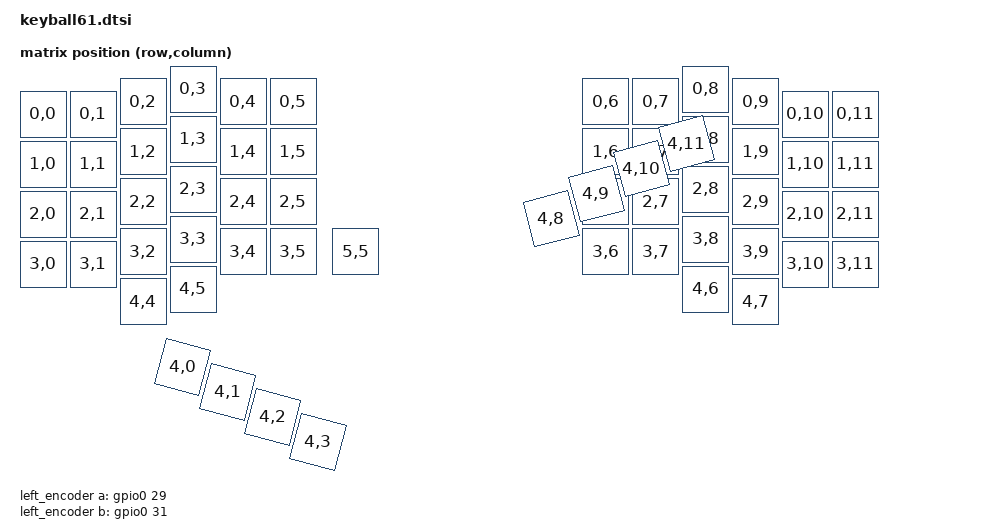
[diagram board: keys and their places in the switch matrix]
#include <dt-bindings/zmk/matrix_transform.h>
#include <physical_layouts.dtsi> 

/ {
    chosen {
	zmk,physical-layout = &keyball_physical_layout;
    };
    
	keyball_physical_layout: keyball_physical_layout {
        compatible = "zmk,physical-layout";
        display-name = "Default";
        transform = <&default_transform>;
        kscan = <&kscan0>;

   keys  //                     w   h    x    y     rot    rx    ry
            = <&key_physical_attrs 100 100    0   50       0     0     0>
            , <&key_physical_attrs 100 100  100   50       0     0     0>
            , <&key_physical_attrs 100 100  200   25       0     0     0>
            , <&key_physical_attrs 100 100  300    0       0     0     0>
            , <&key_physical_attrs 100 100  400   25       0     0     0>
            , <&key_physical_attrs 100 100  500   25       0     0     0>
            , <&key_physical_attrs 100 100 1125   25       0     0     0>
            , <&key_physical_attrs 100 100 1225   25       0     0     0>
            , <&key_physical_attrs 100 100 1325    0       0     0     0>
            , <&key_physical_attrs 100 100 1425   25       0     0     0>
            , <&key_physical_attrs 100 100 1525   50       0     0     0>
            , <&key_physical_attrs 100 100 1625   50       0     0     0>
            , <&key_physical_attrs 100 100    0  150       0     0     0>
            , <&key_physical_attrs 100 100  100  150       0     0     0>
            , <&key_physical_attrs 100 100  200  125       0     0     0>
            , <&key_physical_attrs 100 100  300  100       0     0     0>
            , <&key_physical_attrs 100 100  400  125       0     0     0>
            , <&key_physical_attrs 100 100  500  125       0     0     0>
            , <&key_physical_attrs 100 100 1125  125       0     0     0>
            , <&key_physical_attrs 100 100 1225  125       0     0     0>
            , <&key_physical_attrs 100 100 1325  100       0     0     0>
            , <&key_physical_attrs 100 100 1425  125       0     0     0>
            , <&key_physical_attrs 100 100 1525  150       0     0     0>
            , <&key_physical_attrs 100 100 1625  150       0     0     0>
            , <&key_physical_attrs 100 100    0  250       0     0     0>
            , <&key_physical_attrs 100 100  100  250       0     0     0>
            , <&key_physical_attrs 100 100  200  225       0     0     0>
            , <&key_physical_attrs 100 100  300  200       0     0     0>
            , <&key_physical_attrs 100 100  400  225       0     0     0>
            , <&key_physical_attrs 100 100  500  225       0     0     0>
            , <&key_physical_attrs 100 100 1125  225       0     0     0>
            , <&key_physical_attrs 100 100 1225  225       0     0     0>
            , <&key_physical_attrs 100 100 1325  200       0     0     0>
            , <&key_physical_attrs 100 100 1425  225       0     0     0>
            , <&key_physical_attrs 100 100 1525  250       0     0     0>
            , <&key_physical_attrs 100 100 1625  250       0     0     0>
            , <&key_physical_attrs 100 100    0  350       0     0     0>
            , <&key_physical_attrs 100 100  100  350       0     0     0>
            , <&key_physical_attrs 100 100  200  325       0     0     0>
            , <&key_physical_attrs 100 100  300  300       0     0     0>
            , <&key_physical_attrs 100 100  400  325       0     0     0>
            , <&key_physical_attrs 100 100  500  325       0     0     0>
            , <&key_physical_attrs 100 100 1125  325       0     0     0>
            , <&key_physical_attrs 100 100 1225  325       0     0     0>
            , <&key_physical_attrs 100 100 1325  300       0     0     0>
            , <&key_physical_attrs 100 100 1425  325       0     0     0>
            , <&key_physical_attrs 100 100 1525  350       0     0     0>
            , <&key_physical_attrs 100 100 1625  350       0     0     0>
            , <&key_physical_attrs 100 100  625  500    1500     0     0>
            , <&key_physical_attrs 100 100  725  525    1500     0     0>
            , <&key_physical_attrs 100 100  200  425       0     0     0>
            , <&key_physical_attrs 100 100  300  400       0     0     0>
            , <&key_physical_attrs 100 100  425  450    1500     0     0>
            , <&key_physical_attrs 100 100  525  475    1500     0     0>
            , <&key_physical_attrs 100 100 1100  475 (-1500)     0     0>
            , <&key_physical_attrs 100 100 1200  450 (-1500)     0     0>
            , <&key_physical_attrs 100 100 1325  400       0     0     0>
            , <&key_physical_attrs 100 100 1425  425       0     0     0>
            , <&key_physical_attrs 100 100  900  525 (-1500)     0     0>
            , <&key_physical_attrs 100 100 1000  500 (-1500)     0     0>
            , <&key_physical_attrs 100 100  625  325       0     0     0>
            ;
    };


    default_transform: keymap_transform_0 {
		compatible = "zmk,matrix-transform";
        columns = <12>;
        rows = <6>;

        map = <
       RC(0,0) RC(0,1) RC(0,2) RC(0,3) RC(0,4) RC(0,5) 									  RC(0,6) RC(0,7) RC(0,8) RC(0,9) RC(0,10) RC(0,11)
            RC(1,0) RC(1,1) RC(1,2) RC(1,3) RC(1,4) RC(1,5) 									  RC(1,6) RC(1,7) RC(1,8) RC(1,9) RC(1,10) RC(1,11)
            RC(2,0) RC(2,1) RC(2,2) RC(2,3) RC(2,4) RC(2,5) 									  RC(2,6) RC(2,7) RC(2,8) RC(2,9) RC(2,10) RC(2,11)
            RC(3,0) RC(3,1) RC(3,2) RC(3,3) RC(3,4) RC(3,5) 									  RC(3,6) RC(3,7) RC(3,8) RC(3,9) RC(3,10) RC(3,11)
            				RC(4,2) RC(4,3) RC(4,4) RC(4,5) RC(4,0) RC(4,1) 	RC(4,10) RC(4,11) RC(4,6) RC(4,7) RC(4,8) RC(4,9)
                                                    RC(5,5)
        >;
    };

    left_encoder: encoder_left {
        compatible = "alps,ec11";
        a-gpios = <&gpio0 29 (GPIO_ACTIVE_HIGH | GPIO_PULL_UP)>;
        b-gpios = <&gpio0 31 (GPIO_ACTIVE_HIGH | GPIO_PULL_UP)>;
        steps = <80>;
        status = "disabled";
    };
	
    kscan0: kscan {
        compatible = "zmk,kscan-gpio-matrix";
        label = "KSCAN";

        diode-direction = "col2row";
    };
};
